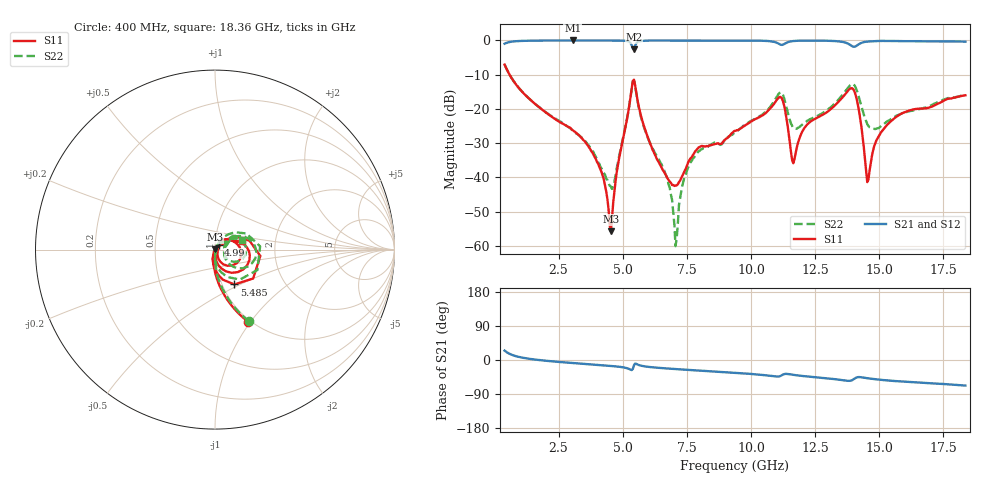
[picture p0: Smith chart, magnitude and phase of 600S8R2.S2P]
!  American Technical Ceramics  Date:  10/27/06
!  One Norden Lane
!  Huntington Station,  NY.  11746-2102
!  Tel:  (631) 622-4700  Fax:  (631) 622-4748
!  Part Number  600S8R2.  Mounting Orientation: Horizontal
!  Description: Ultra Low ESR Microwave capacitors
!  Application: Coupling, Bypass, Tuning, DC Block
!  Filters, Matching
# GHZ S DB R 50
! Freq  |S11|  S11 Ph  |S21|  S21 Ph  |S12|  S12 Ph  |S22|  S22 Ph
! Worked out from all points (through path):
!   400 points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, 400 MHz to 18.36 GHz, reference 50 ohm
!   highest |S21| = -0.02 dB at 3.055 GHz (marker M1); lowest = -2.6 dB at 5.44 GHz (marker M2)
!   group delay of S21, straight-line fit = 11.2 ps
!   lowest |S11| = -55.8 dB at 4.54 GHz (marker M3), VSWR 1.00, Z = 49.9 + j0.133 ohm
!   |S11| at or under -10 dB: 592.2 MHz to end of sweep
!   |S22| runs from -60.1 to -7.1 dB; largest |S21 - S12| = 0.0036
!   S11 on the Smith chart (normalised r, x): 400 MHz: 0.97, -0.97; 4.99 GHz: 1.04, +0.05; 5.485 GHz: 1.14, -0.47; 18.36 GHz: 1.35, +0.13
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0.4  -7.08 -65.3  -0.97 24.8  -0.96 24.8  -7.06 -64.5
3.055  -26.24 -104.3  -0.02 -8.0  -0.01 -8.1  -26.34 -89.7
3.415  -28.62 -106.8  -0.03 -9.8  -0.02 -9.9  -28.43 -89.0
4.225  -39.57 -122.9  -0.03 -13.9  -0.02 -14.0  -38.04 -67.6
4.54  -55.75 125.0  -0.03 -15.7  -0.02 -15.8  -42.66 -14.4
4.99  -29.68 51.8  -0.08 -19.0  -0.08 -19.1  -29.29 62.1
5.44  -11.48 -37.1  -2.56 -14.0  -2.55 -14.1  -11.63 -25.7
5.485  -13.07 -61.0  -1.56 -9.6  -1.56 -9.7  -13.26 -50.1
6.385  -35.30 -100.5  -0.03 -20.6  -0.03 -20.7  -34.56 -86.0
6.835  -41.24 -83.2  -0.03 -22.9  -0.03 -23.0  -43.08 -93.0
7.06  -42.40 -49.1  -0.03 -23.9  -0.04 -24.0  -60.10 -150.0
7.195  -41.34 -22.3  -0.03 -24.5  -0.04 -24.6  -48.00 92.4
7.6  -34.98 20.9  -0.04 -26.3  -0.05 -26.4  -36.20 70.7
9.4  -26.38 37.2  -0.06 -33.8  -0.08 -33.9  -26.72 48.7
11.155  -16.53 -21.0  -1.25 -41.9  -1.25 -42.0  -15.16 -1.5
11.65  -35.88 -7.0  -0.19 -39.2  -0.20 -39.2  -25.55 -16.6
12.37  -23.45 51.0  -0.07 -44.5  -0.08 -44.5  -22.77 21.7
13.99  -14.31 -34.9  -1.84 -51.4  -1.84 -51.4  -12.78 -12.0
14.53  -41.39 -31.1  -0.35 -48.1  -0.36 -48.2  -24.41 -30.6
14.8  -30.93 43.6  -0.21 -50.4  -0.22 -50.4  -25.85 -1.6
15.385  -24.10 31.7  -0.16 -54.3  -0.17 -54.3  -23.39 30.1
18.355  -16.04 17.4  -0.38 -67.5  -0.39 -67.4  -15.87 18.9
